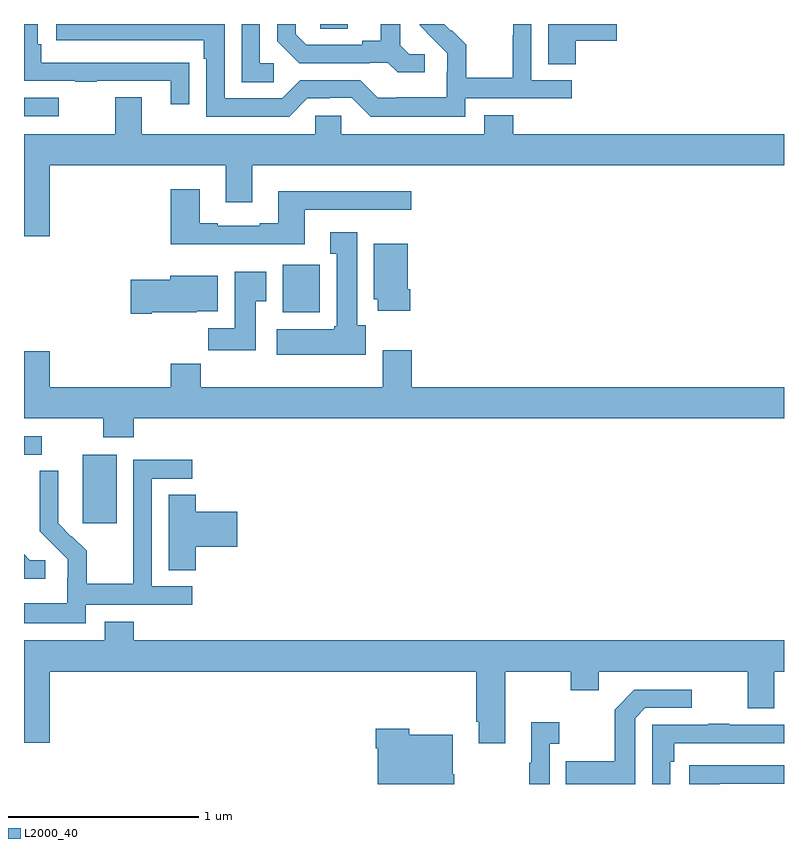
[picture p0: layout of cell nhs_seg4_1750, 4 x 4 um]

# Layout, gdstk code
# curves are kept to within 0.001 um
import gdstk
lib = gdstk.Library(unit=1e-6, precision=1e-09)
def R(c, l, rs):  # rectangles x0, y0, x1, y1
    for r in rs: c.add(gdstk.rectangle(r[:2], r[2:], *l))
def P(c, l, *ps):  # polygons
    for p in ps: c.add(gdstk.Polygon(p, *l))
L2000_40 = (2000, 40)

nhs_seg4_1750 = lib.new_cell('nhs_seg4_1750')
R(nhs_seg4_1750, L2000_40, [(201.308,792.273,201.487,792.634), (201,792.633,201.094,792.729), (202.361,793.382,202.557,793.633), (201,794.415,201.184,794.511), (202.56,794.875,202.705,794.9)])
P(nhs_seg4_1750, L2000_40, [(203.322,794.508),(203.884,794.508),(203.884,794.604),(203.67,794.604),(203.67,794.9),(203.574,794.9),(203.574,794.84),(203.572,794.84),(203.572,794.617),(203.327,794.617),(203.327,794.791),(203.25,794.868),(203.247,794.865),(203.212,794.9),(203.082,794.9),(203.082,794.894),(203.228,794.746),(203.228,794.649),(203.226,794.649),(203.226,794.515),(202.963,794.515),(202.963,794.511),(202.863,794.511),(202.77,794.604),(202.455,794.604),(202.359,794.508),(202.056,794.508),(202.056,794.9),(201.171,794.9),(201.171,794.814),(201.947,794.814),(201.947,794.717),(201.96,794.717),(201.96,794.412),(202.395,794.412),(202.491,794.508),(202.61,794.508),(202.61,794.511),(202.725,794.511),(202.825,794.411),(203.322,794.411)],
  [(203.11,794.742),(203.028,794.742),(202.981,794.789),(202.981,794.9),(202.877,794.9),(202.877,794.813),(202.781,794.813),(202.781,794.79),(202.486,794.79),(202.429,794.847),(202.429,794.9),(202.332,794.9),(202.332,794.81),(202.448,794.694),(202.82,794.694),(202.82,794.697),(202.914,794.697),(202.966,794.645),(203.11,794.645)],
  [(203.903,794.813),(204.121,794.813),(204.121,794.9),(203.759,794.9),(203.759,794.689),(203.903,794.689)],
  [(201.869,794.696),(201.767,794.696),(201.767,794.697),(201.092,794.697),(201.092,794.794),(201.072,794.794),(201.072,794.9),(201,794.9),(201,794.601),(201.271,794.601),(201.271,794.596),(201.383,794.596),(201.383,794.601),(201.773,794.601),(201.773,794.478),(201.869,794.478)],
  [(202.315,794.694),(202.242,794.694),(202.242,794.9),(202.146,794.9),(202.146,794.593),(202.315,794.593)],
  [(201.619,794.515),(201.479,794.515),(201.479,794.32),(201,794.32),(201,793.782),(201.136,793.782),(201.136,794.156),(202.061,794.156),(202.061,793.962),(202.201,793.962),(202.201,794.156),(205,794.156),(205,794.32),(203.576,794.32),(203.576,794.419),(203.423,794.419),(203.423,794.32),(202.671,794.32),(202.671,794.418),(202.533,794.418),(202.533,794.32),(201.619,794.32)],
  [(202.477,793.923),(203.038,793.923),(203.038,794.02),(202.337,794.02),(202.337,793.852),(202.241,793.852),(202.241,793.839),(202.021,793.839),(202.021,793.852),(201.925,793.852),(201.925,794.029),(201.773,794.029),(201.773,793.742),(202.477,793.742)],
  [(202.798,793.314),(202.753,793.314),(202.753,793.804),(202.613,793.804),(202.613,793.691),(202.646,793.691),(202.646,793.308),(202.633,793.308),(202.633,793.294),(202.329,793.294),(202.329,793.16),(202.798,793.16)],
  [(203.033,793.504),(203.02,793.504),(203.02,793.744),(202.841,793.744),(202.841,793.452),(202.862,793.452),(202.862,793.392),(203.033,793.392)],
  [(202.219,793.441),(202.276,793.441),(202.276,793.597),(202.109,793.597),(202.109,793.3),(201.97,793.3),(201.97,793.182),(202.219,793.182)],
  [(201.673,793.382),(201.909,793.382),(201.909,793.388),(202.021,793.388),(202.021,793.576),(201.77,793.576),(201.77,793.553),(201.561,793.553),(201.561,793.375),(201.673,793.375)],
  [(201.578,792.824),(205,792.824),(205,792.988),(203.042,792.988),(203.042,793.183),(202.889,793.183),(202.889,792.988),(201.929,792.988),(201.929,793.112),(201.773,793.112),(201.773,792.988),(201.136,792.988),(201.136,793.177),(201,793.177),(201,792.824),(201.418,792.824),(201.418,792.725),(201.578,792.725)],
  [(201.324,791.844),(201.886,791.844),(201.886,791.94),(201.672,791.94),(201.672,792.507),(201.886,792.507),(201.886,792.606),(201.576,792.606),(201.576,792.176),(201.574,792.176),(201.574,791.953),(201.329,791.953),(201.329,792.127),(201.252,792.204),(201.249,792.201),(201.179,792.272),(201.18,792.548),(201.084,792.548),(201.084,792.23),(201.23,792.082),(201.23,791.985),(201.228,791.985),(201.228,791.851),(201,791.851),(201,791.747),(201.324,791.747)],
  [(201.905,792.149),(202.123,792.149),(202.123,792.332),(201.905,792.332),(201.905,792.422),(201.761,792.422),(201.761,792.025),(201.905,792.025)],
  [(201.112,792.078),(201.03,792.078),(201,792.108),(201,791.981),(201.112,791.981)],
  [(203.533,791.492),(203.878,791.492),(203.878,791.393),(204.025,791.393),(204.025,791.492),(204.809,791.492),(204.809,791.298),(204.949,791.298),(204.949,791.492),(205,791.492),(205,791.656),(201.578,791.656),(201.578,791.755),(201.425,791.755),(201.425,791.656),(201,791.656),(201,791.118),(201.136,791.118),(201.136,791.492),(203.381,791.492),(203.381,791.227),(203.393,791.227),(203.393,791.115),(203.533,791.115)],
  [(204.216,791.247),(204.27,791.301),(204.514,791.301),(204.514,791.397),(204.213,791.397),(204.108,791.291),(204.108,791.019),(203.851,791.019),(203.851,790.9),(204.216,790.9)],
  [(203.766,791.111),(203.818,791.111),(203.818,791.224),(203.669,791.224),(203.669,791.011),(203.658,791.011),(203.658,790.9),(203.766,790.9)],
  [(204.402,791.018),(204.422,791.018),(204.422,791.115),(205,791.115),(205,791.211),(204.713,791.211),(204.713,791.216),(204.601,791.216),(204.601,791.211),(204.306,791.211),(204.306,790.9),(204.402,790.9)],
  [(203.265,790.951),(203.257,790.951),(203.257,791.158),(203.028,791.158),(203.028,791.191),(202.85,791.191),(202.85,791.087),(202.862,791.087),(202.862,790.9),(203.265,790.9)],
  [(204.662,790.902),(205,790.902),(205,790.998),(204.501,790.998),(204.501,790.9),(204.662,790.9)])

lib.write_gds('nhs_seg4_1750.gds')
